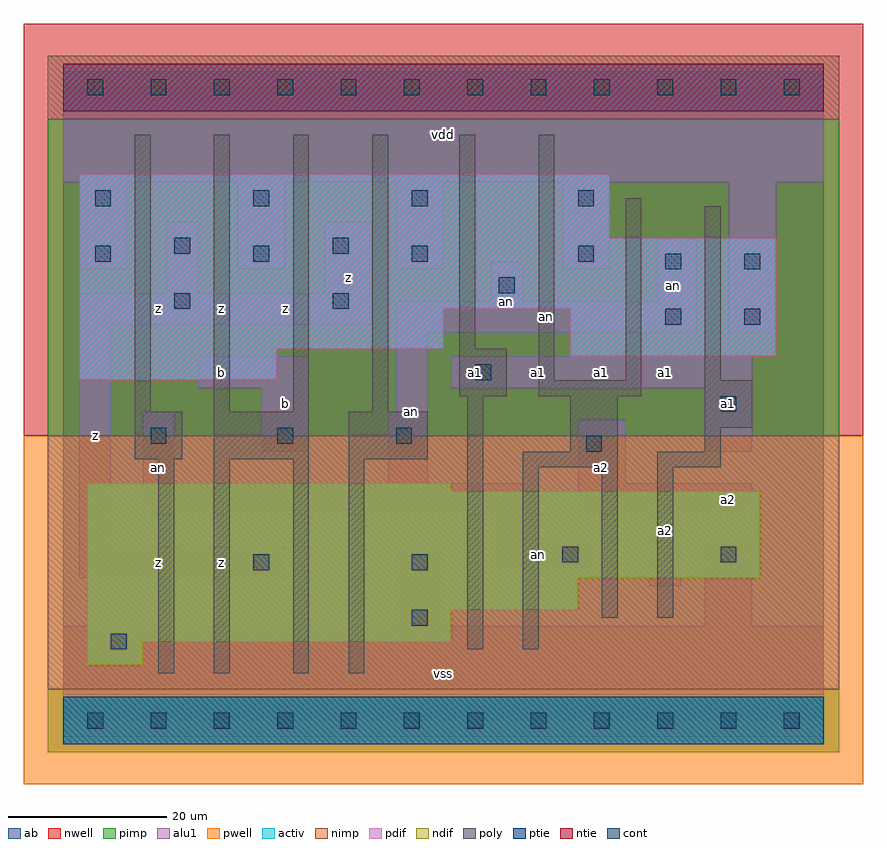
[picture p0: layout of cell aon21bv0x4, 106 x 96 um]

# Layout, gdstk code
import gdstk
lib = gdstk.Library(unit=1e-6, precision=1e-09)
def R(c, l, rs):  # rectangles x0, y0, x1, y1
    for r in rs: c.add(gdstk.rectangle(r[:2], r[2:], *l))
def A(c, l, x, y, w, h, nx, ny, dx, dy):  # array of equal rectangles
    R(c, l, [(x+i*dx, y+j*dy, x+i*dx+w, y+j*dy+h) for i in range(nx) for j in range(ny)])
ndif = (3, 0)
pdif = (4, 0)
ntie = (5, 0)
ptie = (6, 0)
cont = (25, 0)
pwell = (41, 0)
nwell = (42, 0)
activ = (43, 0)
pimp = (44, 0)
nimp = (45, 0)
poly = (46, 0)
alu1 = (49, 0)
ab = (63, 0)

aon21bv0x4 = lib.new_cell('aon21bv0x4')
R(aon21bv0x4, ndif, [(3,7,10,10), (3,10,49,14), (3,14,65,18), (3,18,88,29), (3,29,49,30)])
R(aon21bv0x4, pdif, [(2,43,27,47), (64,46,90,52), (2,47,48,52), (2,52,90,61), (2,61,69,69)])
R(aon21bv0x4, ntie, [(0,77,96,83)])
R(aon21bv0x4, ptie, [(0,-3,96,3)])
A(aon21bv0x4, cont, 3, -1, 2, 2, 12, 2, 8, 80)
A(aon21bv0x4, cont, 4, 58, 2, 2, 3, 2, 20, 7)
R(aon21bv0x4, cont, [(6,9,8,11), (44,12,46,14), (24,19,26,21), (44,19,46,21), (63,20,65,22), (83,20,85,22), (66,34,68,36), (11,35,13,37), (27,35,29,37), (42,35,44,37), (83,39,85,41), (52,43,54,45), (76,50,78,52), (86,50,88,52), (14,52,16,54), (34,52,36,54), (55,54,57,56), (76,57,78,59), (86,57,88,59), (65,58,67,60), (14,59,16,61), (34,59,36,61), (65,65,67,67)])
R(aon21bv0x4, pwell, [(-5,-8,101,36)])
R(aon21bv0x4, nwell, [(-5,36,101,88)])
R(aon21bv0x4, activ, [(0,-3,96,3), (3,7,10,10), (3,10,49,14), (3,14,65,18), (3,18,88,29), (3,29,49,30), (2,43,27,47), (64,46,90,52), (2,47,48,52), (2,52,90,61), (2,61,69,69), (0,77,96,83)])
R(aon21bv0x4, pimp, [(-2,-4,98,4), (-2,36,98,76)])
R(aon21bv0x4, nimp, [(-2,4,98,36), (-2,76,98,84)])
A(aon21bv0x4, poly, 9, 39, 2, 35, 4, 1, 10, 0)
R(aon21bv0x4, poly, [(12,6,14,33), (19,6,21,33), (29,6,31,33), (36,6,38,33), (51,9,53,41), (58,9,60,32), (68,13,70,32), (75,13,77,32), (58,32,70,34), (75,32,83,34), (9,33,15,39), (19,33,31,39), (36,33,46,39), (64,34,70,41), (81,34,83,37), (81,37,87,43), (50,41,56,47), (60,41,73,43), (60,43,62,74), (71,43,73,66), (81,43,83,65), (50,47,52,74)])
A(aon21bv0x4, alu1, 2, 57, 6, 11, 3, 1, 20, 0)
R(aon21bv0x4, alu1, [(0,-2,96,12), (42,12,48,22), (81,12,87,23), (74,17,78,26), (2,18,28,22), (54,19,67,23), (2,22,6,50), (54,23,58,26), (10,26,58,30), (65,26,87,30), (10,30,14,39), (41,30,46,39), (65,30,71,38), (25,34,31,42), (81,34,87,42), (42,39,46,49), (17,42,31,46), (49,42,87,46), (42,49,80,53), (84,49,90,68), (2,50,39,54), (54,53,58,58), (75,53,80,61), (13,54,17,63), (33,54,39,63), (63,57,69,68), (0,68,96,82)])
R(aon21bv0x4, ab, [(0,0,96,80)])
aon21bv0x4.add(gdstk.Label('an', (12,32), layer=49, texttype=0))
aon21bv0x4.add(gdstk.Label('an', (44,39), layer=49, texttype=0))
aon21bv0x4.add(gdstk.Label('an', (60,21), layer=49, texttype=0))
aon21bv0x4.add(gdstk.Label('an', (56,53), layer=49, texttype=0))
aon21bv0x4.add(gdstk.Label('an', (61,51), layer=49, texttype=0))
aon21bv0x4.add(gdstk.Label('an', (77,55), layer=49, texttype=0))
aon21bv0x4.add(gdstk.Label('z', (12,20), layer=49, texttype=0))
aon21bv0x4.add(gdstk.Label('z', (20,20), layer=49, texttype=0))
aon21bv0x4.add(gdstk.Label('z', (4,36), layer=49, texttype=0))
aon21bv0x4.add(gdstk.Label('b', (20,44), layer=49, texttype=0))
aon21bv0x4.add(gdstk.Label('z', (20,52), layer=49, texttype=0))
aon21bv0x4.add(gdstk.Label('z', (12,52), layer=49, texttype=0))
aon21bv0x4.add(gdstk.Label('b', (28,40), layer=49, texttype=0))
aon21bv0x4.add(gdstk.Label('z', (36,56), layer=49, texttype=0))
aon21bv0x4.add(gdstk.Label('z', (28,52), layer=49, texttype=0))
aon21bv0x4.add(gdstk.Label('vss', (48,6), layer=49, texttype=0))
aon21bv0x4.add(gdstk.Label('a2', (68,32), layer=49, texttype=0))
aon21bv0x4.add(gdstk.Label('a1', (60,44), layer=49, texttype=0))
aon21bv0x4.add(gdstk.Label('a1', (68,44), layer=49, texttype=0))
aon21bv0x4.add(gdstk.Label('a1', (52,44), layer=49, texttype=0))
aon21bv0x4.add(gdstk.Label('vdd', (48,74), layer=49, texttype=0))
aon21bv0x4.add(gdstk.Label('a2', (76,24), layer=49, texttype=0))
aon21bv0x4.add(gdstk.Label('a2', (84,28), layer=49, texttype=0))
aon21bv0x4.add(gdstk.Label('a1', (84,40), layer=49, texttype=0))
aon21bv0x4.add(gdstk.Label('a1', (76,44), layer=49, texttype=0))

lib.write_gds('aon21bv0x4.gds')
